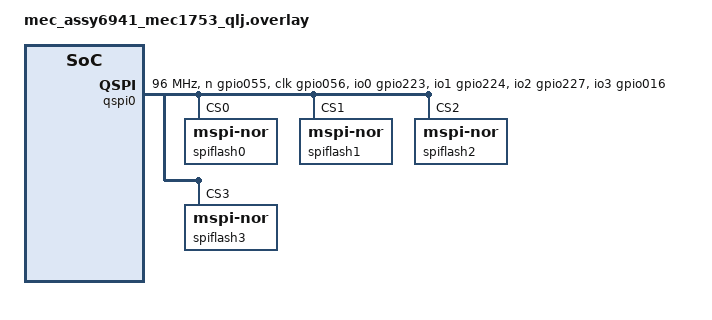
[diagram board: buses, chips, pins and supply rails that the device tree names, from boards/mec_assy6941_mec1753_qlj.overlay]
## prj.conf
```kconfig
# Enable config log
CONFIG_STDOUT_CONSOLE=y
CONFIG_LOG=y
CONFIG_LOG_MODE_IMMEDIATE=y

CONFIG_FLASH=y
CONFIG_MSPI=y
# CONFIG_MSPI_XEC_QSPI_LDMA=y

CONFIG_PM=n
CONFIG_DEBUG=y
```

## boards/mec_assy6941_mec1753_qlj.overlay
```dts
/*
 * Copyright (c) 2022 Microchip Technology Inc.
 *
 * SPDX-License-Identifier: Apache-2.0
 */

/ {};

&qspi0 {
	compatible = "microchip,xec-qspi-mspi";
	status = "okay";

	pinctrl-0 = <&qspi_shd_cs0_n_gpio055 &qspi_shd_clk_gpio056
		     &qspi_shd_io0_gpio223 &qspi_shd_io1_gpio224
		     &qspi_shd_io2_gpio227 &qspi_shd_io3_gpio016>;
	pinctrl-names = "default";

	clock-frequency = <DT_FREQ_M(96)>; /* Maximum frequency the controller can support */
	op-mode = "MSPI_OP_MODE_CONTROLLER";
	duplex = "MSPI_HALF_DUPLEX";
	software-multiperipheral; /* REQUIRED */
	num-hw-ce = <2>;

	/* HW CS0 dummy entry, HW CS1 dummy entry, GPIO-CE, GPIO-CE */
	ce-gpios = <MCHP_GPIO_DECODE_276 0>,
		   <MCHP_GPIO_DECODE_276 0>,
		   <MCHP_GPIO_DECODE_020 GPIO_ACTIVE_LOW>,
		   <MCHP_GPIO_DECODE_044 GPIO_ACTIVE_LOW>;

/*
	ce-gpios = <MCHP_GPIO_DECODE_020 GPIO_ACTIVE_LOW>;
*/


	spiflash0: qspi-nor-flash@0 {
		compatible = "jedec,mspi-nor";
		reg = <0>;

		mspi-hardware-ce-num = <0>;
		size = <DT_SIZE_M(128)>;
		mspi-max-frequency = <8000000>;
		mspi-io-mode = "MSPI_IO_MODE_QUAD_1_4_4";
		mspi-data-rate = "MSPI_DATA_RATE_SINGLE";
		read-command = <0xeb>;
		write-command = <0x38>;
		command-length = "INSTR_1_BYTE";
		address-length = "ADDR_3_BYTE";
		tx-dummy = <0>;
		rx-dummy = <6>;
		jedec-id = [18 60 ef];
	};

	spiflash1: qspi-nor-flash@1 {
		compatible = "jedec,mspi-nor";
		reg = <1>;

		mspi-hardware-ce-num = <1>;
		size = <DT_SIZE_M(128)>;
		mspi-max-frequency = <8000000>;
		mspi-io-mode = "MSPI_IO_MODE_QUAD_1_4_4";
		mspi-data-rate = "MSPI_DATA_RATE_SINGLE";
		read-command = <0xeb>;
		write-command = <0x38>;
		command-length = "INSTR_1_BYTE";
		address-length = "ADDR_3_BYTE";
		tx-dummy = <0>;
		rx-dummy = <6>;
		jedec-id = [18 60 ef];
	};

	spiflash2: qspi-nor-flash@2 {
		compatible = "jedec,mspi-nor";
		reg = <2>;

		size = <DT_SIZE_M(128)>;
		mspi-max-frequency = <8000000>;
		mspi-io-mode = "MSPI_IO_MODE_QUAD_1_4_4";
		mspi-data-rate = "MSPI_DATA_RATE_SINGLE";
		read-command = <0xeb>;
		write-command = <0x38>;
		command-length = "INSTR_1_BYTE";
		address-length = "ADDR_3_BYTE";
		tx-dummy = <0>;
		rx-dummy = <6>;
		jedec-id = [18 60 ef];
	};

	spiflash3: qspi-nor-flash@3 {
		compatible = "jedec,mspi-nor";
		reg = <3>;

		size = <DT_SIZE_M(128)>;
		mspi-max-frequency = <8000000>;
		mspi-io-mode = "MSPI_IO_MODE_QUAD_1_4_4";
		mspi-data-rate = "MSPI_DATA_RATE_SINGLE";
		read-command = <0xeb>;
		write-command = <0x38>;
		command-length = "INSTR_1_BYTE";
		address-length = "ADDR_3_BYTE";
		tx-dummy = <0>;
		rx-dummy = <6>;
		jedec-id = [18 60 ef];
	};

/*
	spiflash0: qspi-nor-flash@0 {
		compatible = "jedec,mspi-nor";
		reg = <0>;

		size = <DT_SIZE_M(128)>;
		mspi-max-frequency = <8000000>;
		mspi-io-mode = "MSPI_IO_MODE_QUAD_1_4_4";
		mspi-data-rate = "MSPI_DATA_RATE_SINGLE";
		read-command = <0xeb>;
		write-command = <0x38>;
		command-length = "INSTR_1_BYTE";
		address-length = "ADDR_3_BYTE";
		tx-dummy = <0>;
		rx-dummy = <6>;
		jedec-id = [18 60 ef];
	};
*/
};
```

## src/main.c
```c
/*
 * Copyright (c) 2026 Microchip Technology Inc.
 *
 * SPDX-License-Identifier: Apache-2.0
 */

#include <stdio.h>
#include <string.h>
#include <soc.h>
#include <zephyr/kernel.h>
#include <zephyr/device.h>
#include <zephyr/drivers/mspi.h>
#include <zephyr/drivers/mspi/devicetree.h>
#include <zephyr/logging/log.h>
LOG_MODULE_REGISTER(main);

#define W25Q128_JEDEC_ID       0x001840efU
#define W25Q128JV_JEDEC_ID     0x001870efU
#define SST26VF016B_JEDEC_ID   0x004126bfU
#define SPI_FLASH_JEDEC_ID_MSK 0x00ffffffu

#define SPI_FLASH_READ_JEDEC_ID_OPCODE 0x9fu

#define SPI_FLASH_READ_STATUS1_OPCODE 0x05u
#define SPI_FLASH_READ_STATUS2_OPCODE 0x35u
#define SPI_FLASH_READ_STATUS3_OPCODE 0x15u

#define SPI_FLASH_WRITE_STATUS1_OPCODE 0x01u
#define SPI_FLASH_WRITE_STATUS2_OPCODE 0x31u
#define SPI_FLASH_WRITE_STATUS3_OPCODE 0x11u

#define SPI_FLASH_WRITE_ENABLE_OPCODE              0x06u
#define SPI_FLASH_WRITE_DISABLE_OPCODE             0x04u
#define SPI_FLASH_WRITE_ENABLE_VOLATILE_STS_OPCODE 0x50u

#define SPI_FLASH_READ_SFDP_CMD 0x5au

#define SPI_FLASH_READ_SLOW_OPCODE 0x03u
#define SPI_FLASH_READ_FAST_OPCODE 0x0bu
#define SPI_FLASH_READ_DUAL_OPCODE 0x3bu
#define SPI_FLASH_READ_QUAD_OPCODE 0x6bu

#define SPI_FLASH_ERASE_SECTOR_OPCODE 0x20u
#define SPI_FLASH_ERASE_BLOCK1_OPCODE 0x52u
#define SPI_FLASH_ERASE_BLOCK2_OPCODE 0xd8u
#define SPI_FLASH_ERASE_CHIP_OPCODE   0xc7u

#define SPI_FLASH_PAGE_PROG_OPCODE 0x02u

#define SPI_FLASH_PAGE_SIZE   256
#define SPI_FLASH_SECTOR_SIZE 4096
#define SPI_FLASH_BLOCK1_SIZE (32 * 1024)
#define SPI_FLASH_BLOCK2_SIZE (64 * 1024)

#define SPI_FLASH_STATUS1_BUSY_POS 0
#define SPI_FLASH_STATUS1_WEL_POS  1

#define SPI_FLASH_STATUS2_SRL_POS     0
#define SPI_FLASH_STATUS2_QE_POS      1
#define SPI_FLASH_STATUS2_SUS_STS_POS 7

#define MSPI0_NODE DT_NODELABEL(qspi0)

struct spi_address {
	uint32_t addr;
	uint8_t byte_len;
};

enum spi_flash_read_cmd {
	CMD_SPI_FLASH_READ_SLOW = 0,
	CMD_SPI_FLASH_READ_FAST,
	CMD_SPI_FLASH_READ_DUAL,
	CMD_SPI_FLASH_READ_QUAD,
	CMD_SPI_FLASH_READ_MAX
};

#if 0 /* BUILD ERROR */
static struct gpio_dt_spec ce_gpios[] = MSPI_CE_GPIOS_DT_SPEC_GET(MSPI0_NODE);
#endif

const struct device *mspi0_dev = DEVICE_DT_GET(MSPI0_NODE);

static const struct mspi_cfg mspi_cfg0 = {
	.channel_num = 0,
	.op_mode = MSPI_OP_MODE_CONTROLLER,
	.duplex = MSPI_HALF_DUPLEX,
	.dqs_support = false,
	.ce_group = NULL, // BUILD ERROR ce_gpios,
	.num_ce_gpios = 0, // BUILD ERROR ARRAY_SIZE(ce_gpios),
	.num_periph = 4u, /* DT_CHILD_NUM(MSPI0_NODE) */
	.max_freq = DT_PROP(MSPI0_NODE, clock_frequency),
};

static const struct mspi_dt_spec mspi0_dt_spec = {
	.bus = DEVICE_DT_GET(MSPI0_NODE),
	.config = mspi_cfg0,
};

#if 0
static struct mspi_dev_cfg mspi_dev_cfg0;
static struct mspi_xfer_packet pkt0;
static struct mspi_xfer mspi_xfr0;
#endif

static uint32_t jedec_id;

#define SPI_TEST_BUF1_SIZE 256

static uint8_t buf1[SPI_TEST_BUF1_SIZE];

#define SPI_TEST_ADDR1 0xc10000u

#define SPI_FILL_VAL         0x69u
#define SPI_TEST_BUFFER_SIZE (36 * 1024)

struct test_buf {
	union {
		uint32_t w[(SPI_TEST_BUFFER_SIZE) / 4];
		uint16_t h[(SPI_TEST_BUFFER_SIZE) / 2];
		uint8_t b[(SPI_TEST_BUFFER_SIZE)];
	};
};

static struct test_buf tb1;

static bool is_data_buf_filled_with(uint8_t *data, size_t datasz, uint8_t val)
{
	if (!data || !datasz) {
		return false;
	}

	for (size_t i = 0; i < datasz; i++) {
		if (data[i] != val) {
			return false;
		}
	}

	return true;
}

static int spi_flash_format_addr(uint32_t spi_addr, size_t addrsz, uint8_t *buf, size_t bufsz)
{
	if (!buf || (addrsz > 4) || (bufsz < addrsz)) {
		return -EINVAL;
	}

	for (size_t i = 0; i < addrsz; i++) {
		buf[i] = spi_addr >> ((addrsz - i - 1u) * 8);
	}

	return 0;
}

int main(void)
{
	struct spi_address spi_addr = {0};
	int err = 0;

	LOG_INF("MEC_Assy6941 board MSPI sample main");

	jedec_id = 0xffffffffU;

	memset(buf1, 0, sizeof(buf1));
	memset((void *)&tb1, 0x55, sizeof(tb1));

	if (!device_is_ready(mspi0_dev)) {
		LOG_ERR("MSPI 0 device not ready!\n");
		return -1;
	}

	err = mspi_config(&mspi0_dt_spec);

	LOG_INF("Program End");

	return 0;
}
```
